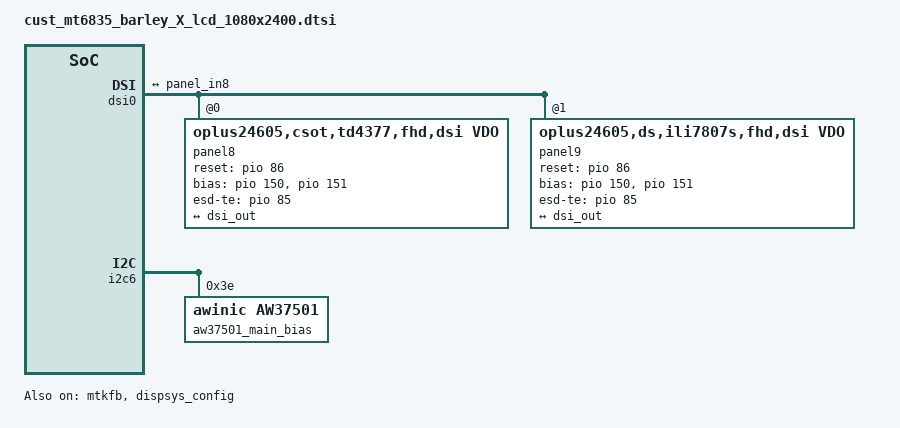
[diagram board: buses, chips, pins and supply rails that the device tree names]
&mtk_leds {
	compatible = "mediatek,disp-leds";

	backlight {
		label = "lcd-backlight";
		max-brightness = <4095>;
		max-hw-brightness = <4095>;
		led_mode = <4>;
		led-bits = <12>;
		trans-bits = <12>;
		default-state = "on";
		apollo-state = "disable";
	};
};

&pio {
    mtkfb_pins_lcm_rst_out1_gpio: lcm_rst_out1_gpio {
        pins_cmd_dat {
            pinmux = <PINMUX_GPIO86__FUNC_GPIO86>;
            slew-rate = <1>;
            output-high;
        };
    };

    mtkfb_pins_lcm_rst_out0_gpio: lcm_rst_out0_gpio {
        pins_cmd_dat {
            pinmux = <PINMUX_GPIO86__FUNC_GPIO86>;
            slew-rate = <1>;
            output-low;
        };
    };

    mtkfb_pins_lcm_dsi_te: lcm_dsi_te {
        pins_cmd_dat {
            pinmux = <PINMUX_GPIO85__FUNC_GPIO85>;
            slew-rate = <0>;
        };
    };

    mtkfb_pins_lcm_bias_enp1_gpio: lcm_bias_enp1_gpio {
        pins_cmd_dat {
            pinmux = <PINMUX_GPIO150__FUNC_GPIO150>;
            slew-rate = <1>;
            output-high;
        };
    };

    mtkfb_pins_lcm_bias_enp0_gpio: lcm_bias_enp0_gpio {
        pins_cmd_dat {
            pinmux = <PINMUX_GPIO150__FUNC_GPIO150>;
            slew-rate = <1>;
            output-low;
        };
    };

    mtkfb_pins_lcm_bias_enn1_gpio: lcm_bias_enn1_gpio {
        pins_cmd_dat {
            pinmux = <PINMUX_GPIO151__FUNC_GPIO151>;
            slew-rate = <1>;
            output-high;
        };
    };

    mtkfb_pins_lcm_bias_enn0_gpio: lcm_bias_enn0_gpio {
        pins_cmd_dat {
            pinmux = <PINMUX_GPIO151__FUNC_GPIO151>;
            slew-rate = <1>;
            output-low;
        };
    };

};

&mtkfb {
    pinctrl-names = "lcm_rst_out1_gpio", "lcm_rst_out0_gpio",
        "mode_te_te", 
        "lcm_bias_enp1_gpio", "lcm_bias_enp0_gpio",
        "lcm_bias_enn1_gpio", "lcm_bias_enn0_gpio";
    pinctrl-0 = <&mtkfb_pins_lcm_rst_out1_gpio>;
    pinctrl-1 = <&mtkfb_pins_lcm_rst_out0_gpio>;
    pinctrl-2 = <&mtkfb_pins_lcm_dsi_te>;
    pinctrl-3 = <&mtkfb_pins_lcm_bias_enp1_gpio>;
    pinctrl-4 = <&mtkfb_pins_lcm_bias_enp0_gpio>;
    pinctrl-5 = <&mtkfb_pins_lcm_bias_enn1_gpio>;
    pinctrl-6 = <&mtkfb_pins_lcm_bias_enn0_gpio>;
    status = "okay";
};

&dispsys_config {
    pinctrl-names =
        "lcm_rst_out1_gpio", "lcm_rst_out0_gpio",
        "mode_te_te",
        "lcm_bias_enp1_gpio", "lcm_bias_enp0_gpio",
        "lcm_bias_enn1_gpio", "lcm_bias_enn0_gpio";
    pinctrl-0 = <&mtkfb_pins_lcm_rst_out1_gpio>;
    pinctrl-1 = <&mtkfb_pins_lcm_rst_out0_gpio>;
    pinctrl-2 = <&mtkfb_pins_lcm_dsi_te>;
    pinctrl-3 = <&mtkfb_pins_lcm_bias_enp1_gpio>;
    pinctrl-4 = <&mtkfb_pins_lcm_bias_enp0_gpio>;
    pinctrl-5 = <&mtkfb_pins_lcm_bias_enn1_gpio>;
    pinctrl-6 = <&mtkfb_pins_lcm_bias_enn0_gpio>;
    status = "okay";
};
&dsi0 {
    status = "okay";
    #address-cells = <1>;
    switch-fps = <120>;
    switch-mode = "vfp";
    #size-cells = <0>;
    panel8@7 {
        compatible = "oplus24605,csot,td4377,fhd,dsi,vdo";
        reg = <0>;
        reset-gpios = <&pio 86 0>;
        bias-gpios = <&pio 150 0>, <&pio 151 0>;
        esd-te-gpios = <&pio 85 0>;
        pinctrl-names = "default";
        port {
            panel_in8: endpoint {
                remote-endpoint = <&dsi_out>;
            };
        };
    };
    panel9@8 {
        compatible = "oplus24605,ds,ili7807s,fhd,dsi,vdo";
        reg = <1>;
        reset-gpios = <&pio 86 0>;
        bias-gpios = <&pio 150 0>, <&pio 151 0>;
        esd-te-gpios = <&pio 85 0>;
        pinctrl-names = "default";
        port {
            panel_in9: endpoint {
                remote-endpoint = <&dsi_out>;
            };
        };
    };
    ports {
        port {
            dsi_out: endpoint {
                remote-endpoint = <&panel_in8>;
            };
        };
    };
};

&i2c6 {
    aw37501_main_bias: aw37501@0x3e {
        compatible = "awinic,aw37501";
        reg = <0x3e>;
        status = "okay";
    };
};

&disp_ccorr0 {
	ccorr_linear_per_pipe = <0x1>;
	ccorr_prim_force_linear = <0x1>;
	set_ccorr_force_linear = <1>;
	oplus_set_ccorr_matrix = <1>;
};

#include "mediatek/cust_evb6835.dtsi"
